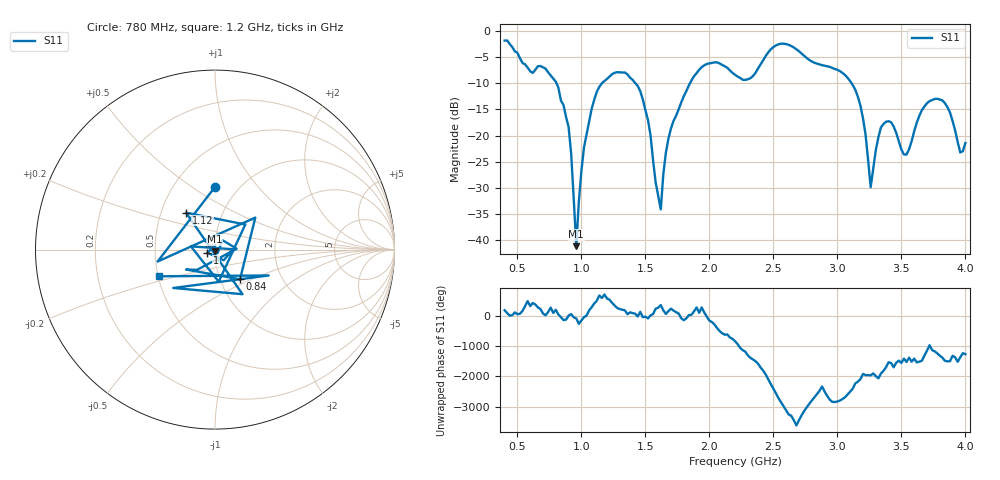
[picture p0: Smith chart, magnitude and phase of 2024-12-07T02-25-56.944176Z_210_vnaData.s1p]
!Created with skrf (http://scikit-rf.org).
# Hz S RI R 50.0
!freq ReS11 ImS11
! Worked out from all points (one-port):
!   181 points, 400 MHz to 4 GHz, reference 50 ohm
!   lowest |S11| = -41.1 dB at 960 MHz (marker M1), VSWR 1.02, Z = 49.9 - j0.878 ohm
!   |S11| at or under -10 dB: 805 MHz to 1.16 GHz (355.4 MHz wide, 36.2 % of centre); 1.421 GHz to 1.849 GHz (427.4 MHz wide, 26.1 % of centre); 3.111 GHz to end of sweep
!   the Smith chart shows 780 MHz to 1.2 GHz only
!   S11 on the Smith chart (normalised r, x): 780 MHz: 0.78, +0.62; 840 MHz: 1.24, -0.43; 1 GHz: 0.92, -0.03; 1.12 GHz: 0.67, +0.30; 1.2 GHz: 0.50, -0.17
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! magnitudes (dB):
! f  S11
! 400 MHz  -1.9
! 780 MHz  -9.1
! 840 MHz  -13.3
! 860 MHz  -14.2
! 920 MHz  -23.5
! 960 MHz  -41.1
! 1 GHz  -26.7
! 1.12 GHz  -11.6
! 1.2 GHz  -9.2
! 1.3 GHz  -7.9
! 1.48 GHz  -13.1
! 1.62 GHz  -34.1
! 1.66 GHz  -23.2
! 1.76 GHz  -15.0
! 1.96 GHz  -6.6
! 2.2 GHz  -8.4
! 2.66 GHz  -3.2
! 3.1 GHz  -9.6
! 3.2 GHz  -16.7
! 3.26 GHz  -29.8
! 3.32 GHz  -20.4
! 3.36 GHz  -17.8
! 3.56 GHz  -22.6
! 3.66 GHz  -15.1
! 3.76 GHz  -13.0
! 3.88 GHz  -15.6
! 3.96 GHz  -23.2
! 4 GHz  -21.4
